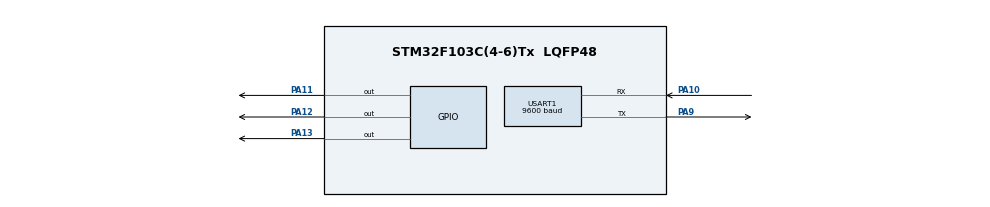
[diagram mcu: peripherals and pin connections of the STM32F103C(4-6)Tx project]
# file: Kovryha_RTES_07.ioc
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Mcu.Family=STM32F1
Mcu.Name=STM32F103C(4-6)Tx
Mcu.Package=LQFP48
NVIC.PriorityGroup=NVIC_PRIORITYGROUP_4
NVIC.USART1_IRQn=true\:0\:0\:false\:false\:true\:true\:true
PA10.Mode=Asynchronous
PA10.Signal=USART1_RX
PA11.Signal=GPIO_Output
PA12.Signal=GPIO_Output
PA13.Signal=GPIO_Output
PA9.Mode=Asynchronous
PA9.Signal=USART1_TX
ProjectManager.HeapSize=0x200
ProjectManager.StackSize=0x400
ProjectManager.TargetToolchain=STM32CubeIDE
RCC.APB1Freq_Value=8000000
RCC.APB2Freq_Value=8000000
USART1.BaudRate=9600
USART1.VirtualMode=VM_ASYNC
VP_SYS_VS_ND.Mode=No_Debug
board=custom

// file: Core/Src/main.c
/* USER CODE BEGIN Header */
/**
  ******************************************************************************
  * @file           : main.c
  * @brief          : Main program body
  ******************************************************************************
  * @attention
  *
  * <h2><center>&copy; Copyright (c) 2021 STMicroelectronics.
  * All rights reserved.</center></h2>
  *
  * This software component is licensed by ST under BSD 3-Clause license,
  * the "License"; You may not use this file except in compliance with the
  * License. You may obtain a copy of the License at:
  *                        opensource.org/licenses/BSD-3-Clause
  *
  ******************************************************************************
  */
/* USER CODE END Header */
#include "main.h"

/* USER CODE BEGIN Includes */
#include <stdbool.h>
/* USER CODE END Includes */

UART_HandleTypeDef huart1;

/* USER CODE BEGIN PV */
uint8_t str[1];
bool RxCompleted = false;
bool TxCompleted = true;
/* USER CODE END PV */

void SystemClock_Config(void);
static void MX_GPIO_Init(void);
static void MX_USART1_UART_Init(void);

int main(void)
{

  /* MCU Configuration--------------------------------------------------------*/

  /* Reset of all peripherals, Initializes the Flash interface and the Systick. */
  HAL_Init();

  /* Configure the system clock */
  SystemClock_Config();

  /* Initialize all configured peripherals */
  MX_GPIO_Init();
  MX_USART1_UART_Init();
  /* USER CODE BEGIN 2 */
  HAL_UART_Receive_IT (&huart1, str, 1);
  /* USER CODE END 2 */

  /* Infinite loop */
  /* USER CODE BEGIN WHILE */
  while (1)
  {
	  if (str[0] == '0')
		  HAL_GPIO_WritePin (GPIOA, GPIO_PIN_11, GPIO_PIN_SET);
	  if (str[0] == '1')
		  HAL_GPIO_WritePin (GPIOA, GPIO_PIN_11, GPIO_PIN_RESET);
	  if (str[0] == '2')
		  HAL_GPIO_WritePin (GPIOA, GPIO_PIN_12, GPIO_PIN_RESET);
	  if (str[0] == '3')
		  HAL_GPIO_WritePin (GPIOA, GPIO_PIN_12, GPIO_PIN_SET);
	  if (str[0] == 'h')
	  {
		  HAL_GPIO_TogglePin (GPIOA, GPIO_PIN_13);
		  str[0] = '/';
	  }

    /* USER CODE END WHILE */

  }
}

void SystemClock_Config(void)
{
  RCC_OscInitTypeDef RCC_OscInitStruct = {0};
  RCC_ClkInitTypeDef RCC_ClkInitStruct = {0};

  /** Initializes the RCC Oscillators according to the specified parameters
  * in the RCC_OscInitTypeDef structure.
  */
  RCC_OscInitStruct.OscillatorType = RCC_OSCILLATORTYPE_HSI;
  RCC_OscInitStruct.HSIState = RCC_HSI_ON;
  RCC_OscInitStruct.HSICalibrationValue = RCC_HSICALIBRATION_DEFAULT;
  RCC_OscInitStruct.PLL.PLLState = RCC_PLL_NONE;
  if (HAL_RCC_OscConfig(&RCC_OscInitStruct) != HAL_OK)
  {
    Error_Handler();
  }
  /** Initializes the CPU, AHB and APB buses clocks
  */
  RCC_ClkInitStruct.ClockType = RCC_CLOCKTYPE_HCLK|RCC_CLOCKTYPE_SYSCLK
                              |RCC_CLOCKTYPE_PCLK1|RCC_CLOCKTYPE_PCLK2;
  RCC_ClkInitStruct.SYSCLKSource = RCC_SYSCLKSOURCE_HSI;
  RCC_ClkInitStruct.AHBCLKDivider = RCC_SYSCLK_DIV1;
  RCC_ClkInitStruct.APB1CLKDivider = RCC_HCLK_DIV1;
  RCC_ClkInitStruct.APB2CLKDivider = RCC_HCLK_DIV1;

  if (HAL_RCC_ClockConfig(&RCC_ClkInitStruct, FLASH_LATENCY_0) != HAL_OK)
  {
    Error_Handler();
  }
}

static void MX_USART1_UART_Init(void)
{

  huart1.Instance = USART1;
  huart1.Init.BaudRate = 9600;
  huart1.Init.WordLength = UART_WORDLENGTH_8B;
  huart1.Init.StopBits = UART_STOPBITS_1;
  huart1.Init.Parity = UART_PARITY_NONE;
  huart1.Init.Mode = UART_MODE_TX_RX;
  huart1.Init.HwFlowCtl = UART_HWCONTROL_NONE;
  huart1.Init.OverSampling = UART_OVERSAMPLING_16;
  if (HAL_UART_Init(&huart1) != HAL_OK)
  {
    Error_Handler();
  }

}

static void MX_GPIO_Init(void)
{
  GPIO_InitTypeDef GPIO_InitStruct = {0};

  /* GPIO Ports Clock Enable */
  __HAL_RCC_GPIOA_CLK_ENABLE();

  /*Configure GPIO pin Output Level */
  HAL_GPIO_WritePin(GPIOA, GPIO_PIN_11|GPIO_PIN_12|GPIO_PIN_13, GPIO_PIN_RESET);

  /*Configure GPIO pins : PA11 PA12 PA13 */
  GPIO_InitStruct.Pin = GPIO_PIN_11|GPIO_PIN_12|GPIO_PIN_13;
  GPIO_InitStruct.Mode = GPIO_MODE_OUTPUT_PP;
  GPIO_InitStruct.Pull = GPIO_NOPULL;
  GPIO_InitStruct.Speed = GPIO_SPEED_FREQ_LOW;
  HAL_GPIO_Init(GPIOA, &GPIO_InitStruct);

}

/* USER CODE BEGIN 4 */
void HAL_UART_RxCpltCallback(UART_HandleTypeDef *huart)
{
	if (huart == &huart1)
	{
		RxCompleted = true;

		if (TxCompleted == true)
		{
			TxCompleted = false;
			HAL_UART_Transmit_IT (&huart1, str, 1);
		}
	}
}

void HAL_UART_TxCpltCallback(UART_HandleTypeDef *huart)
{
	if(huart == &huart1)
	{
		TxCompleted = true;

		if (RxCompleted == true)
		{
			RxCompleted = false;
			HAL_UART_Receive_IT (&huart1, str, 1);
		}
	}
}

/* USER CODE END 4 */

void Error_Handler(void)
{
  __disable_irq();
  while (1)
  {
  }
}
